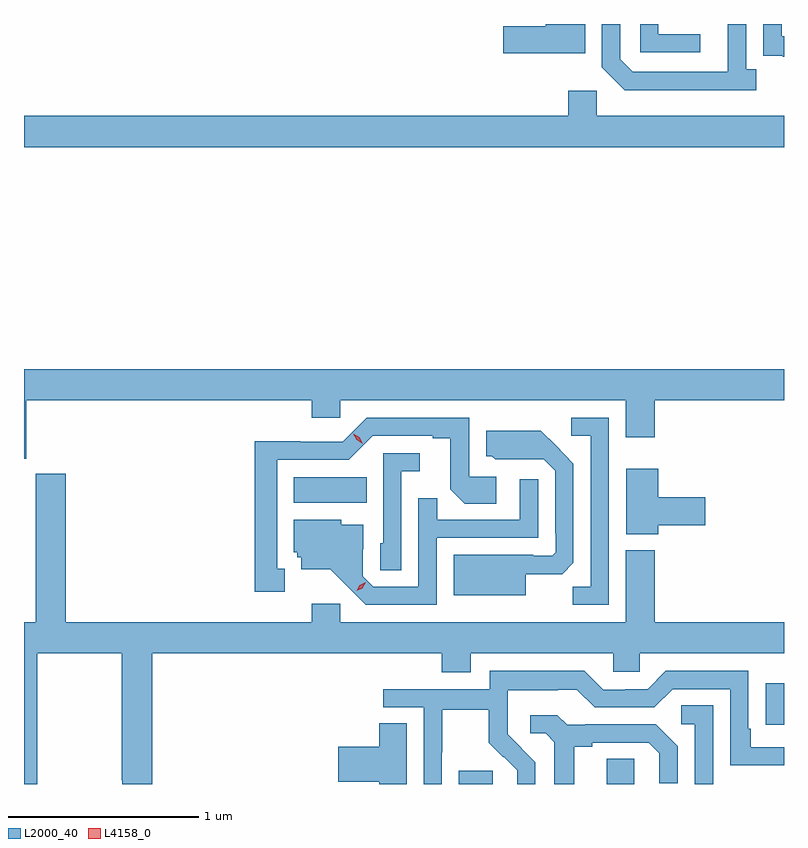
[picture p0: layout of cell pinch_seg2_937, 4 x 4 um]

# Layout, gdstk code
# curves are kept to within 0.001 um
import gdstk
lib = gdstk.Library(unit=1e-6, precision=1e-09)
def R(c, l, rs):  # rectangles x0, y0, x1, y1
    for r in rs: c.add(gdstk.rectangle(r[:2], r[2:], *l))
def P(c, l, *ps):  # polygons
    for p in ps: c.add(gdstk.Polygon(p, *l))
L2000_40 = (2000, 40)
L4158_0 = (4158, 0)

pinch_seg2_937 = lib.new_cell('pinch_seg2_937')
R(pinch_seg2_937, L2000_40, [(316.061,660.268,316.24,660.339), (316.841,660.268,316.986,660.401), (317.677,660.58,317.773,660.799), (315.194,661.748,315.578,661.882)])
P(pinch_seg2_937, L2000_40, [(317.626,664.03),(317.574,664.03),(317.574,664.268),(317.478,664.268),(317.477,664.017),(316.977,664.017),(316.911,664.083),(316.911,664.268),(316.815,664.268),(316.815,664.041),(316.936,663.92),(317.626,663.92)],
  [(317.773,664.203),(317.76,664.203),(317.76,664.268),(317.664,664.268),(317.664,664.21),(317.665,664.21),(317.665,664.101),(317.767,664.101),(317.767,664.095),(317.773,664.095)],
  [(316.726,664.268),(316.519,664.268),(316.519,664.256),(316.296,664.256),(316.296,664.114),(316.726,664.114)],
  [(317.332,664.215),(317.112,664.215),(317.112,664.268),(317.016,664.268),(317.016,664.119),(317.332,664.119)],
  [(317.773,663.784),(316.788,663.784),(316.788,663.916),(316.637,663.916),(316.637,663.784),(313.773,663.784),(313.773,663.62),(317.773,663.62)],
  [(313.786,662.288),(315.287,662.288),(315.287,662.195),(315.438,662.195),(315.438,662.288),(316.94,662.288),(316.94,662.094),(317.093,662.094),(317.093,662.288),(317.773,662.288),(317.773,662.452),(313.773,662.452),(313.773,661.979),(313.786,661.979)],
  [(316.851,662.196),(316.653,662.196),(316.653,662.1),(316.755,662.1),(316.755,661.307),(316.66,661.307),(316.66,661.212),(316.851,661.212)],
  [(315.145,661.401),(315.106,661.401),(315.106,661.974),(315.483,661.974),(315.609,662.1),(315.923,662.1),(315.923,662.088),(316.017,662.088),(316.017,661.82),(316.093,661.744),(316.258,661.744),(316.258,661.884),(316.116,661.884),(316.116,662.196),(315.576,662.196),(315.45,662.07),(315.228,662.07),(315.228,662.072),(314.988,662.072),(314.988,661.281),(315.145,661.281)],
  [(316.414,661.373),(316.606,661.373),(316.665,661.432),(316.665,661.954),(316.493,662.128),(316.205,662.128),(316.205,661.992),(316.236,661.992),(316.252,661.976),(316.509,661.977),(316.569,661.917),(316.569,661.588),(316.572,661.588),(316.572,661.488),(316.554,661.47),(316.454,661.47),(316.454,661.474),(316.034,661.474),(316.034,661.262),(316.414,661.262)],
  [(315.759,661.913),(315.856,661.913),(315.856,662.01),(315.663,662.01),(315.663,661.536),(315.648,661.536),(315.648,661.393),(315.759,661.393)],
  [(317.11,661.631),(317.359,661.631),(317.359,661.778),(317.11,661.778),(317.11,661.927),(316.943,661.927),(316.943,661.583),(317.11,661.583)],
  [(313.842,660.956),(314.287,660.956),(314.287,660.289),(314.291,660.289),(314.291,660.268),(314.447,660.268),(314.447,660.956),(315.971,660.956),(315.971,660.857),(316.123,660.857),(316.123,660.956),(316.875,660.956),(316.875,660.858),(317.013,660.858),(317.013,660.956),(317.773,660.956),(317.773,661.12),(317.093,661.12),(317.093,661.498),(316.94,661.498),(316.94,661.12),(315.438,661.12),(315.438,661.216),(315.287,661.216),(315.287,661.12),(313.994,661.12),(313.994,661.9),(313.834,661.9),(313.834,661.12),(313.773,661.12),(313.773,660.268),(313.842,660.268)],
  [(315.945,661.563),(316.479,661.563),(316.479,661.873),(316.383,661.873),(316.383,661.659),(315.947,661.659),(315.947,661.772),(315.849,661.772),(315.849,661.305),(315.612,661.305),(315.555,661.362),(315.555,661.504),(315.559,661.504),(315.559,661.633),(315.444,661.633),(315.444,661.66),(315.194,661.66),(315.194,661.488),(315.21,661.488),(315.21,661.461),(315.233,661.461),(315.233,661.397),(315.385,661.397),(315.572,661.212),(315.945,661.212)],
  [(315.972,660.436),(315.975,660.436),(315.975,660.66),(316.219,660.66),(316.219,660.485),(316.296,660.408),(316.299,660.411),(316.37,660.341),(316.37,660.268),(316.464,660.268),(316.464,660.382),(316.318,660.53),(316.318,660.627),(316.32,660.627),(316.32,660.761),(316.583,660.761),(316.583,660.765),(316.683,660.765),(316.776,660.672),(317.091,660.672),(317.187,660.768),(317.49,660.768),(317.49,660.366),(317.773,660.366),(317.773,660.462),(317.599,660.462),(317.599,660.559),(317.586,660.559),(317.586,660.864),(317.151,660.864),(317.055,660.768),(316.937,660.768),(316.937,660.765),(316.821,660.765),(316.721,660.865),(316.224,660.865),(316.224,660.768),(315.663,660.768),(315.663,660.672),(315.876,660.672),(315.876,660.268),(315.972,660.268)],
  [(317.4,660.683),(317.232,660.683),(317.232,660.582),(317.304,660.582),(317.304,660.268),(317.4,660.268)],
  [(316.669,660.464),(316.765,660.464),(316.765,660.486),(317.06,660.486),(317.117,660.429),(317.117,660.273),(317.214,660.273),(317.214,660.466),(317.098,660.582),(316.726,660.582),(316.726,660.579),(316.632,660.579),(316.58,660.631),(316.437,660.631),(316.437,660.534),(316.518,660.534),(316.565,660.487),(316.565,660.268),(316.669,660.268)],
  [(315.787,660.587),(315.644,660.587),(315.644,660.464),(315.426,660.464),(315.426,660.281),(315.644,660.281),(315.644,660.268),(315.787,660.268)])
P(pinch_seg2_937, L4158_0, [(315.555,662.06),(315.524,662.079),(315.506,662.111),(315.506,662.111),(315.506,662.111),(315.538,662.093),(315.556,662.06),(315.556,662.06)],
  [(315.523,661.284),(315.523,661.284),(315.54,661.314),(315.572,661.329),(315.572,661.329),(315.572,661.329),(315.554,661.299),(315.523,661.284)])

lib.write_gds('pinch_seg2_937.gds')
